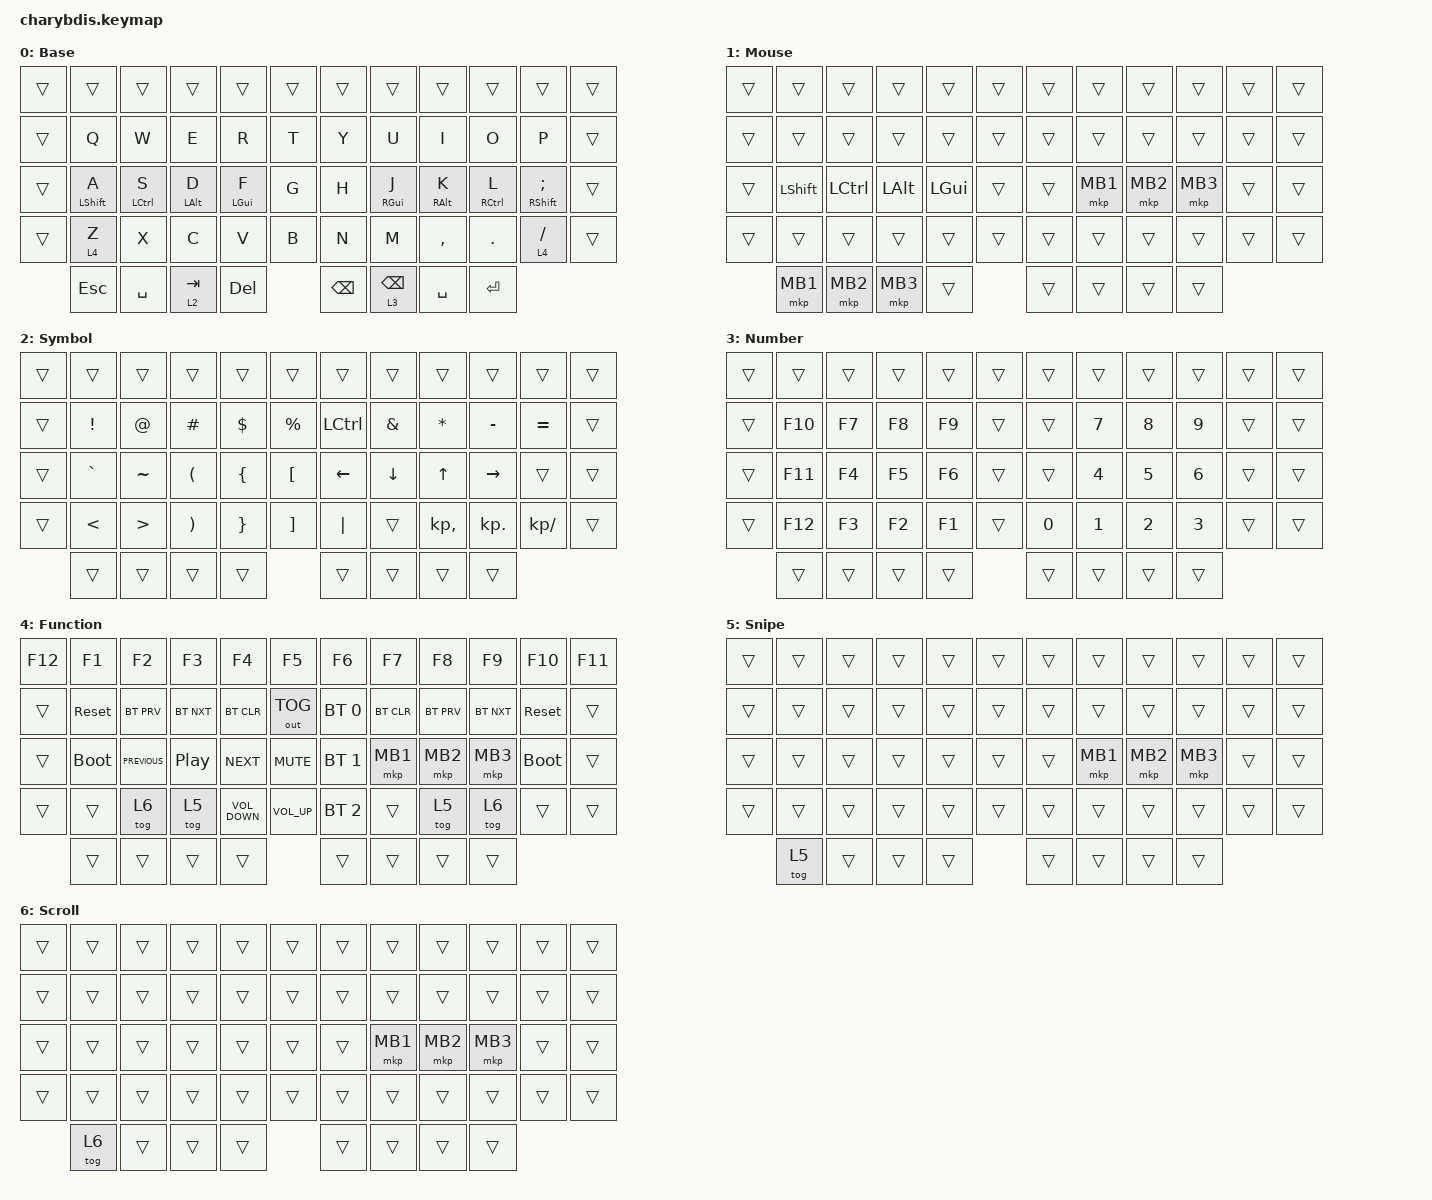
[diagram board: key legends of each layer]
#include <behaviors.dtsi>
#include <behaviors/mouse_keys.dtsi>
#include <dt-bindings/zmk/keys.h>
#include <dt-bindings/zmk/bt.h>
#include <dt-bindings/zmk/outputs.h>
#include <dt-bindings/zmk/pointing.h>

// ---------------------------------------------------------------------------
//  СЛОИ РАСКЛАДКИ
//  Номера слоёв важны: на них ссылаются split_input_common.dtsi (трекбол),
//  переключатели режимов и комбинации клавиш. Порядок = порядок ниже.
//
//   0 BASE     — основная раскладка (перенос старой раскладки)
//   1 MOUSE    — авто-слой мыши: появляется при движении шарика
//   2 SYMBOL   — символы
//   3 NUMBER   — цифры и F-клавиши
//   4 FUNCTION — настройки: медиа, BT, reset + переключатели трекбала
//   5 SNIPE    — точное движение шарика (включается тумблером)
//   6 SCROLL   — скролл шариком (включается тумблером)
// ---------------------------------------------------------------------------
#define BASE 0
#define MOUSE 1
#define SYMBOL 2
#define NUMBER 3
#define FUNCTION 4
#define SNIPE 5
#define SCROLL 6

// Позиции для positional home-row-mods (Charybdis 4x6 = 56 клавиш:
// 4 ряда по 12 + 8 клавиш больших пальцев). Позиции идут в порядке
// default_transform: 0-11 (ряд 0), 12-23 (ряд 1), 24-35 (ряд 2),
// 36-47 (ряд 3), 48-55 (большие пальцы: 48-52 левые, 53-55 правые).
#define KEYS_L 0 1 2 3 4 5 12 13 14 15 16 17 24 25 26 27 28 29 36 37 38 39 40 41
#define KEYS_R 6 7 8 9 10 11 18 19 20 21 22 23 30 31 32 33 34 35 42 43 44 45 46 47
#define THUMBS 48 49 50 51 52 53 54 55

&sk {
  release-after-ms = <600>;
  quick-release;
};

&sl {
  ignore-modifiers;
};

&mt {
  flavor = "tap-preferred";
};

&lt {
  flavor = "balanced";
  tapping-term-ms = <200>;
  quick-tap-ms = <175>;
};

&caps_word {
  /delete-property/ ignore-modifiers;
};

/ {
  behaviors {
    hml: hml {
      // 1-й параметр = модификатор (hold), 2-й = буква (tap)
      display-name = "Home Row Mod - Left";
      compatible = "zmk,behavior-hold-tap";
      #binding-cells = <2>;
      flavor = "balanced";
      tapping-term-ms = <2000>;
      quick-tap-ms = <175>;
      require-prior-idle-ms = <250>;
      hold-trigger-key-positions = <KEYS_R THUMBS>;
      hold-trigger-on-release;
      bindings =
        <&kp>,
        <&kp>;
    };

    hmr: hmr {
      // 1-й параметр = модификатор (hold), 2-й = буква (tap)
      display-name = "Home Row Mod - Right";
      compatible = "zmk,behavior-hold-tap";
      #binding-cells = <2>;
      flavor = "balanced";
      tapping-term-ms = <2000>;
      quick-tap-ms = <175>;
      require-prior-idle-ms = <250>;
      hold-trigger-key-positions = <KEYS_L THUMBS>;
      hold-trigger-on-release;
      bindings =
        <&kp>,
        <&kp>;
    };

    hml_s: hml_s {
      // как "Left", но срабатывает модом сразу после печати (без задержки 250 мс)
      display-name = "Home Row Mod - Left (no idle)";
      compatible = "zmk,behavior-hold-tap";
      #binding-cells = <2>;
      flavor = "balanced";
      tapping-term-ms = <2000>;
      quick-tap-ms = <175>;
      require-prior-idle-ms = <0>;
      hold-trigger-key-positions = <KEYS_R THUMBS>;
      hold-trigger-on-release;
      bindings =
        <&kp>,
        <&kp>;
    };

    hmr_s: hmr_s {
      // 1-й параметр = модификатор (hold), 2-й = буква (tap)
      display-name = "Home Row Mod - Right (no idle)";
      compatible = "zmk,behavior-hold-tap";
      #binding-cells = <2>;
      flavor = "balanced";
      tapping-term-ms = <2000>;
      quick-tap-ms = <175>;
      require-prior-idle-ms = <0>;
      hold-trigger-key-positions = <KEYS_L THUMBS>;
      hold-trigger-on-release;
      bindings =
        <&kp>,
        <&kp>;
    };

    smart_shift: smart_shift {
      display-name = "Smart Shift (Shift / Caps Word)";
      compatible = "zmk,behavior-mod-morph";
      #binding-cells = <0>;
      bindings = <&sk LSHIFT>, <&caps_word>;
      mods = <(MOD_LSFT)>;
    };
  };

  combos {
    compatible = "zmk,combos";

    // Х (в русской раскладке) = O + P
    combo_russian_x_letter {
      bindings = <&kp LEFT_BRACKET>;
      key-positions = <21 22>;
      layers = <BASE>;
    };

    // Э (в русской раскладке) = K + L
    combo_russian_e_letter {
      bindings = <&kp SQT>;
      key-positions = <33 34>;
      layers = <BASE>;
    };

    ESC_combo {
      bindings = <&kp ESC>;
      key-positions = <14 15>;
      layers = <BASE>;
    };

    tab_combo {
      bindings = <&kp TAB>;
      key-positions = <38 39>;
      layers = <BASE>;
    };

    // Разблокировка ZMK Studio (обе верхние крайние клавиши)
    combo_unlock {
      key-positions = <0 4>;
      bindings = <&studio_unlock>;
    };
  };

  chosen {
    zmk,physical-layout = &charybdis_6col_layout;
  };

  keymap {
    compatible = "zmk,keymap";

    // ---------------------------------------------------------------------
    // BASE — перенос старой раскладки.
    // Home row mods: A S D F = Shift Ctrl Opt Cmd   (зеркально)
    //                   J K L ; = Cmd Opt Ctrl Shift
    // &lt 4 Z и &lt 4 SLASH — удержание даёт слой FUNCTION (настройки)
    // &lt 2 TAB — удержание даёт SYMBOL, &lt 3 BACKSPACE — NUMBER
    // ---------------------------------------------------------------------
    Base {
        label = "Base";
        display-name = "Base";
        bindings = <
&trans  &trans        &trans        &trans         &trans         &trans          &trans        &trans         &trans         &trans          &trans           &trans
&trans  &kp Q         &kp W         &kp E          &kp R          &kp T           &kp Y         &kp U          &kp I          &kp O           &kp P            &trans
&trans  &hml LSHIFT A  &hml LCTRL S   &hml LALT D    &hml LGUI F  &kp G           &kp H         &hmr RGUI J  &hmr RALT K    &hmr RCTRL L     &hmr RSHIFT SEMI  &trans
&trans  &lt 4 Z       &kp X         &kp C          &kp V          &kp B           &kp N         &kp M          &kp COMMA      &kp DOT         &lt 4 SLASH      &trans
        &kp ESC       &kp SPACE     &lt 2 TAB      &kp DEL        &kp BACKSPACE   &lt 3 BACKSPACE  &kp SPACE                   &kp RETURN
        >;
    };

    // ---------------------------------------------------------------------
    // MOUSE — авто-слой (input-processor auto_mouse_layer).
    // Появляется при движении шарика с задержкой, пока шарик двигается.
    // ---------------------------------------------------------------------
    Mouse {
        label = "Mouse";
        display-name = "Mouse";
        bindings = <
&trans  &trans    &trans    &trans      &trans      &trans          &trans  &trans    &trans    &trans    &trans  &trans
&trans  &trans    &trans    &trans      &trans      &trans          &trans  &trans    &trans    &trans    &trans  &trans
&trans  &kp LSHFT  &kp LCTRL  &kp LALT   &kp LGUI   &trans          &trans  &mkp MB1  &mkp MB2  &mkp MB3  &trans  &trans
&trans  &trans    &trans    &trans      &trans      &trans          &trans  &trans    &trans    &trans    &trans  &trans
        &mkp MB1  &mkp MB2  &mkp MB3     &trans      &trans          &trans  &trans    &trans
        >;
    };

    // ---------------------------------------------------------------------
    // SYMBOL
    // ---------------------------------------------------------------------
    Sym {
        label = "Symbol";
        display-name = "Symbol";
        bindings = <
&trans  &trans           &trans            &trans                &trans         &trans     &trans    &trans        &trans       &trans       &trans         &trans
&trans  &kp EXCLAMATION  &kp AT_SIGN       &kp HASH              &kp DOLLAR     &kp PERCENT &kp LCTRL &kp AMPERSAND &kp ASTERISK &kp MINUS    &kp EQUAL      &trans
&trans  &kp GRAVE        &kp TILDE         &kp LEFT_PARENTHESIS  &kp LEFT_BRACE &kp LBKT   &kp LEFT  &kp DOWN      &kp UP       &kp RIGHT    &trans         &trans
&trans  &kp LESS_THAN    &kp GREATER_THAN  &kp RIGHT_PARENTHESIS &kp RIGHT_BRACE &kp RBKT  &kp PIPE  &trans        &kp KP_COMMA &kp KP_DOT   &kp KP_DIVIDE  &trans
        &trans           &trans            &trans                &trans         &trans     &trans    &trans        &trans
        >;
    };

    // ---------------------------------------------------------------------
    // NUMBER
    // ---------------------------------------------------------------------
    Num {
        label = "Number";
        display-name = "Number";
        bindings = <
&trans  &trans   &trans  &trans  &trans  &trans          &trans  &trans  &trans  &trans  &trans  &trans
&trans  &kp F10  &kp F7  &kp F8  &kp F9  &trans          &trans  &kp N7  &kp N8  &kp N9  &trans  &trans
&trans  &kp F11  &kp F4  &kp F5  &kp F6  &trans          &trans  &kp N4  &kp N5  &kp N6  &trans  &trans
&trans  &kp F12  &kp F3  &kp F2  &kp F1  &trans          &kp N0  &kp N1  &kp N2  &kp N3  &trans  &trans
        &trans   &trans  &trans  &trans  &trans          &trans  &trans  &trans
        >;
    };

    // ---------------------------------------------------------------------
    // FUNCTION — настройки.
    // Помимо медиа/BT/reset здесь ПЕРЕКЛЮЧАТЕЛИ РЕЖИМОВ трекбала:
    //   &tog 6 — SCROLL вкл/выкл (шарик скроллит)
    //   &tog 5 — SNIPE  вкл/выкл (точное движение)
    // ---------------------------------------------------------------------
    Fun {
        label = "Function";
        display-name = "Function";
        bindings = <
&kp F12  &kp F1       &kp F2          &kp F3            &kp F4             &kp F5                    &kp F6        &kp F7      &kp F8      &kp F9      &kp F10      &kp F11
&trans   &sys_reset   &bt BT_PRV      &bt BT_NXT        &bt BT_CLR         &out OUT_TOG              &bt BT_SEL 0  &bt BT_CLR  &bt BT_PRV  &bt BT_NXT  &sys_reset   &trans
&trans   &bootloader  &kp C_PREVIOUS  &kp C_PLAY_PAUSE  &kp C_NEXT         &kp C_MUTE                &bt BT_SEL 1  &mkp MB1    &mkp MB2    &mkp MB3    &bootloader  &trans
&trans   &trans       &tog 6          &tog 5            &kp C_VOLUME_DOWN  &kp C_VOLUME_UP           &bt BT_SEL 2  &trans      &tog 5      &tog 6      &trans       &trans
                     &trans          &trans            &trans             &trans           &trans                    &trans        &trans      &trans
        >;
    };

    // ---------------------------------------------------------------------
    // SNIPE — точное движение шарика (включается тумблером из FUNCTION).
    // Левый верхний большой палец (48) выключает режим.
    // ---------------------------------------------------------------------
    Snipe {
        label = "Snipe";
        display-name = "Snipe";
        bindings = <
&trans  &trans  &trans  &trans  &trans  &trans          &trans    &trans    &trans    &trans    &trans  &trans
&trans  &trans  &trans  &trans  &trans  &trans          &trans    &trans    &trans    &trans    &trans  &trans
&trans  &trans  &trans  &trans  &trans  &trans          &trans    &mkp MB1  &mkp MB2  &mkp MB3  &trans  &trans
&trans  &trans  &trans  &trans  &trans  &trans          &trans    &trans    &trans    &trans    &trans  &trans
        &tog 5  &trans  &trans  &trans  &trans          &trans    &trans    &trans
        >;
    };

    // ---------------------------------------------------------------------
    // SCROLL — скролл шариком (включается тумблером из FUNCTION).
    // Левый верхний большой палец (48) выключает режим.
    // ---------------------------------------------------------------------
    Scroll {
        label = "Scroll";
        display-name = "Scroll";
        bindings = <
&trans  &trans  &trans  &trans  &trans  &trans          &trans    &trans    &trans    &trans    &trans  &trans
&trans  &trans  &trans  &trans  &trans  &trans          &trans    &trans    &trans    &trans    &trans  &trans
&trans  &trans  &trans  &trans  &trans  &trans          &trans    &mkp MB1  &mkp MB2  &mkp MB3  &trans  &trans
&trans  &trans  &trans  &trans  &trans  &trans          &trans    &trans    &trans    &trans    &trans  &trans
        &tog 6  &trans  &trans  &trans  &trans          &trans    &trans    &trans
        >;
    };
  };
};
